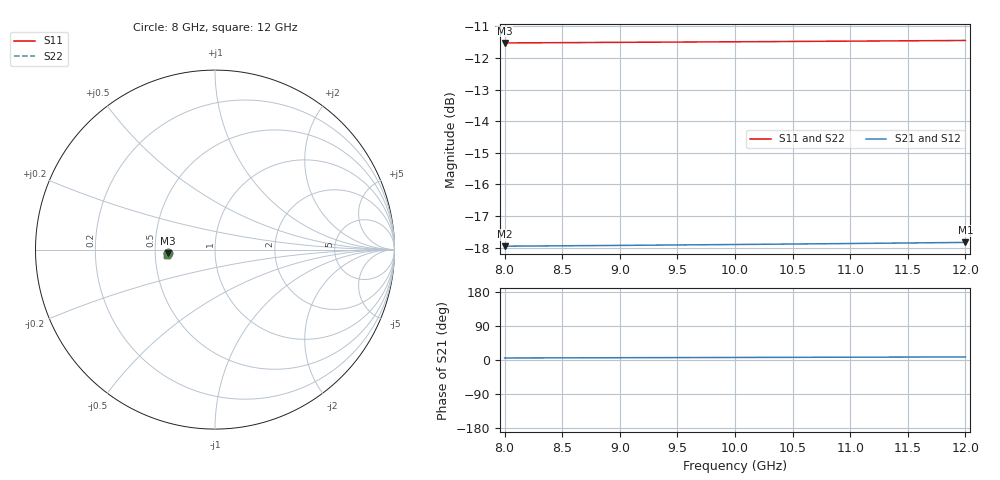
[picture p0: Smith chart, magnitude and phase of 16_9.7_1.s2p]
! Created Mon Oct 19 10:47:25 2020
# ghz S db R 50
! 2 Port Network Data from SP1.SP block
! freq  dbS11  angS11  dbS21  angS21  dbS12  angS12  dbS22  angS22
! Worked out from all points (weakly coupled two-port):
!   9 points, 8 GHz to 12 GHz, reference 50 ohm
!   highest |S21| = -17.83 dB at 12 GHz (marker M1); lowest = -18.0 dB at 8 GHz (marker M2)
!   lowest |S11| = -11.5 dB at 8 GHz (marker M3), VSWR 1.72, Z = 29.1 - j1.22 ohm
!   |S11| at or under -10 dB: start of sweep to end of sweep
!   |S22| runs from -11.5 to -11.4 dB; largest |S21 - S12| = 2.6e-17
8  -11.53 -175.8  -17.95 5.4  -17.95 5.4  -11.53 -175.8
8.5  -11.52 -175.5  -17.94 5.7  -17.94 5.7  -11.52 -175.5
9  -11.51 -175.3  -17.93 6.0  -17.93 6.0  -11.51 -175.3
9.5  -11.50 -175.0  -17.91 6.4  -17.91 6.4  -11.50 -175.0
10  -11.49 -174.8  -17.90 6.7  -17.90 6.7  -11.49 -174.8
10.5  -11.48 -174.6  -17.88 7.0  -17.88 7.0  -11.48 -174.6
11  -11.47 -174.3  -17.87 7.4  -17.87 7.4  -11.47 -174.3
11.5  -11.46 -174.1  -17.85 7.7  -17.85 7.7  -11.46 -174.1
12  -11.45 -173.9  -17.83 8.0  -17.83 8.0  -11.45 -173.9
